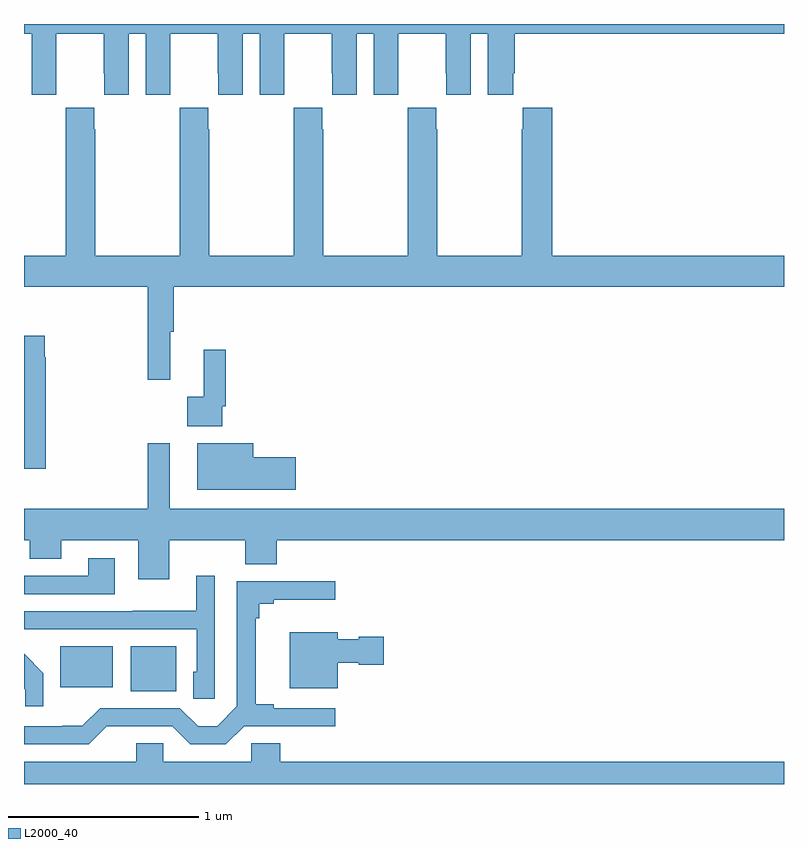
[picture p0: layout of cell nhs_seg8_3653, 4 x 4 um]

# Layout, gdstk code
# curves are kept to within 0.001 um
import gdstk
lib = gdstk.Library(unit=1e-6, precision=1e-09)
def R(c, l, rs):  # rectangles x0, y0, x1, y1
    for r in rs: c.add(gdstk.rectangle(r[:2], r[2:], *l))
def P(c, l, *ps):  # polygons
    for p in ps: c.add(gdstk.Polygon(p, *l))
L2000_40 = (2000, 40)

nhs_seg8_3653 = lib.new_cell('nhs_seg8_3653')
R(nhs_seg8_3653, L2000_40, [(337.562,1098.389,337.801,1098.625), (337.19,1098.41,337.468,1098.625)])
P(nhs_seg8_3653, L2000_40, [(337.17,1101.64),(337.171,1101.64),(337.171,1101.848),(337.421,1101.848),(337.421,1101.64),(337.422,1101.64),(337.422,1101.528),(337.552,1101.528),(337.552,1101.848),(337.64,1101.848),(337.64,1101.528),(337.77,1101.528),(337.77,1101.64),(337.771,1101.64),(337.771,1101.848),(338.021,1101.848),(338.021,1101.64),(338.022,1101.64),(338.022,1101.528),(338.152,1101.528),(338.152,1101.848),(338.24,1101.848),(338.24,1101.528),(338.37,1101.528),(338.37,1101.64),(338.371,1101.64),(338.371,1101.848),(338.621,1101.848),(338.621,1101.64),(338.622,1101.64),(338.622,1101.528),(338.752,1101.528),(338.752,1101.848),(338.84,1101.848),(338.84,1101.528),(338.97,1101.528),(338.97,1101.64),(338.971,1101.64),(338.971,1101.848),(339.221,1101.848),(339.221,1101.64),(339.222,1101.64),(339.222,1101.528),(339.352,1101.528),(339.352,1101.848),(339.44,1101.848),(339.44,1101.528),(339.574,1101.528),(339.574,1101.64),(339.584,1101.64),(339.584,1101.848),(341,1101.848),(341,1101.9),(337,1101.9),(337,1101.848),(337.04,1101.848),(337.04,1101.528),(337.17,1101.528)],
  [(337.769,1100.28),(337.787,1100.28),(337.787,1100.516),(341,1100.516),(341,1100.68),(339.779,1100.68),(339.779,1101.46),(339.625,1101.46),(339.625,1101.347),(339.619,1101.347),(339.619,1100.68),(339.174,1100.68),(339.174,1101.347),(339.171,1101.347),(339.171,1101.46),(339.021,1101.46),(339.021,1101.347),(339.019,1101.347),(339.019,1100.68),(338.574,1100.68),(338.574,1101.347),(338.571,1101.347),(338.571,1101.46),(338.421,1101.46),(338.421,1101.347),(338.419,1101.347),(338.419,1100.68),(337.974,1100.68),(337.974,1101.347),(337.971,1101.347),(337.971,1101.46),(337.821,1101.46),(337.821,1101.347),(337.819,1101.347),(337.819,1100.68),(337.374,1100.68),(337.374,1101.347),(337.371,1101.347),(337.371,1101.46),(337.221,1101.46),(337.221,1101.347),(337.219,1101.347),(337.219,1100.68),(337,1100.68),(337,1100.516),(337.651,1100.516),(337.651,1100.028),(337.769,1100.028)],
  [(337.115,1100.147),(337.108,1100.147),(337.108,1100.26),(337,1100.26),(337,1099.559),(337.115,1099.559)],
  [(338.043,1099.888),(338.063,1099.888),(338.063,1100.185),(337.946,1100.185),(337.946,1099.937),(337.86,1099.937),(337.86,1099.784),(338.043,1099.784)],
  [(338.431,1099.619),(338.206,1099.619),(338.206,1099.693),(337.913,1099.693),(337.913,1099.448),(338.431,1099.448)],
  [(337.765,1099.184),(338.165,1099.184),(338.165,1099.056),(338.329,1099.056),(338.329,1099.184),(341,1099.184),(341,1099.348),(337.768,1099.348),(337.768,1099.693),(337.651,1099.693),(337.651,1099.348),(337,1099.348),(337,1099.184),(337.031,1099.184),(337.031,1099.085),(337.195,1099.085),(337.195,1099.184),(337.601,1099.184),(337.601,1098.978),(337.765,1098.978)],
  [(337.477,1099.087),(337.337,1099.087),(337.337,1098.996),(337,1098.996),(337,1098.9),(337.477,1098.9)],
  [(338.004,1098.997),(337.907,1098.997),(337.907,1098.811),(337.573,1098.811),(337.573,1098.81),(337,1098.81),(337,1098.714),(337.908,1098.714),(337.908,1098.492),(337.892,1098.492),(337.892,1098.349),(338.004,1098.349)],
  [(337.436,1098.203),(337.779,1098.204),(337.875,1098.108),(338.062,1098.108),(338.158,1098.204),(338.638,1098.203),(338.638,1098.3),(338.314,1098.3),(338.314,1098.32),(338.219,1098.32),(338.219,1098.773),(338.237,1098.773),(338.237,1098.85),(338.314,1098.85),(338.314,1098.869),(338.638,1098.869),(338.638,1098.968),(338.425,1098.968),(338.425,1098.966),(338.121,1098.966),(338.121,1098.309),(338.017,1098.205),(337.916,1098.205),(337.821,1098.3),(337.401,1098.3),(337.307,1098.206),(337.202,1098.206),(337.202,1098.204),(337,1098.204),(337,1098.108),(337.341,1098.108)],
  [(338.65,1098.539),(338.763,1098.539),(338.763,1098.527),(338.893,1098.527),(338.893,1098.674),(338.763,1098.674),(338.763,1098.661),(338.65,1098.661),(338.65,1098.7),(338.399,1098.7),(338.399,1098.404),(338.65,1098.404)],
  [(337.101,1098.484),(337,1098.585),(337,1098.402),(337.006,1098.396),(337.006,1098.309),(337.101,1098.309)],
  [(338.348,1098.114),(338.196,1098.114),(338.196,1098.016),(337.734,1098.016),(337.734,1098.114),(337.592,1098.114),(337.592,1098.016),(337,1098.016),(337,1097.9),(341,1097.9),(341,1098.016),(338.348,1098.016)])

lib.write_gds('nhs_seg8_3653.gds')
